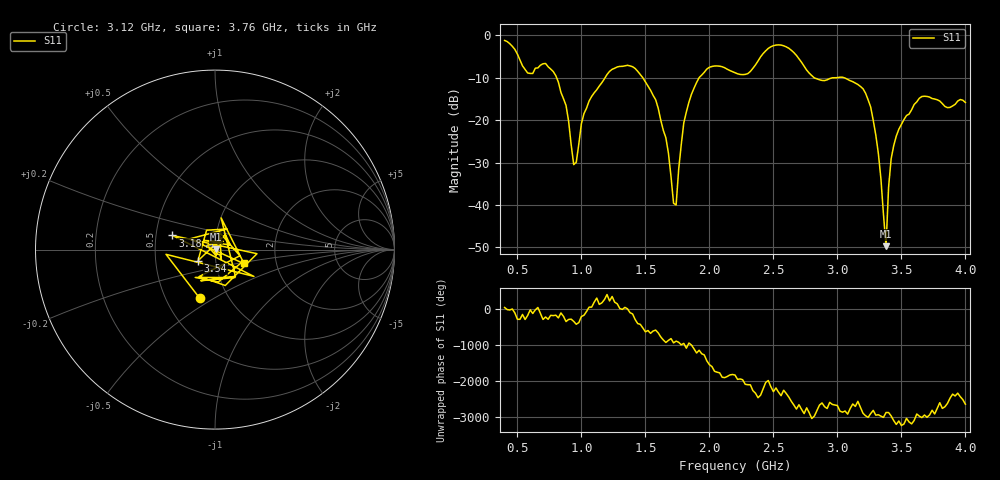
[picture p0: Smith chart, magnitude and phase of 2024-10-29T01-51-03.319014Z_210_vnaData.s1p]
!Created with skrf (http://scikit-rf.org).
# Hz S RI R 50.0
!freq ReS11 ImS11
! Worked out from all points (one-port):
!   181 points, 400 MHz to 4 GHz, reference 50 ohm
!   lowest |S11| = -49.7 dB at 3.38 GHz (marker M1), VSWR 1.01, Z = 50.3 + j0.0915 ohm
!   |S11| at or under -10 dB: 806.6 MHz to 1.185 GHz (378.1 MHz wide, 38 % of centre); 1.48 GHz to 1.919 GHz (439.1 MHz wide, 25.8 % of centre); 3.053 GHz to end of sweep (the widest 3 of 4)
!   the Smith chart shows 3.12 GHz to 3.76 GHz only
!   S11 on the Smith chart (normalised r, x): 3.12 GHz: 0.73, -0.43; 3.18 GHz: 0.61, +0.10; 3.54 GHz: 0.82, -0.10; 3.76 GHz: 1.36, -0.21
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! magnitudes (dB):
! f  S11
! 400 MHz  -1.2
! 580 MHz  -8.9
! 720 MHz  -6.6
! 860 MHz  -14.9
! 940 MHz  -30.5
! 1.06 GHz  -15.5
! 1.3 GHz  -7.3
! 1.58 GHz  -15.2
! 1.66 GHz  -24.2
! 1.72 GHz  -39.6
! 1.74 GHz  -40.0
! 1.76 GHz  -31.6
! 1.8 GHz  -20.6
! 1.92 GHz  -10.0
! 2.2 GHz  -8.8
! 2.66 GHz  -4.1
! 2.82 GHz  -10.0
! 3.1 GHz  -10.7
! 3.12 GHz  -10.9
! 3.18 GHz  -12.0
! 3.3 GHz  -23.5
! 3.38 GHz  -49.7
! 3.4 GHz  -35.7
! 3.42 GHz  -29.1
! 3.54 GHz  -18.9
! 3.56 GHz  -18.6
! 3.76 GHz  -15.0
! 4 GHz  -15.8
